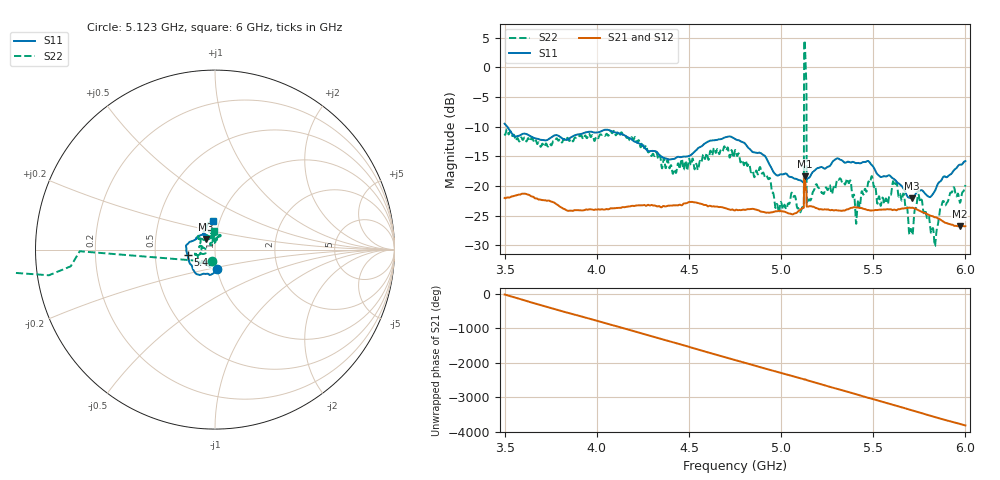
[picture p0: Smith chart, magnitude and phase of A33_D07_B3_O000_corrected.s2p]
! Created with skrf 1.9.0 (http://scikit-rf.org).
# Hz S RI R 50.0
!freq ReS11 ImS11 ReS21 ImS21 ReS12 ImS12 ReS22 ImS22
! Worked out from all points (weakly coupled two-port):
!   1601 points, 3.5 GHz to 6 GHz, reference 50 ohm
!   highest |S21| = -18.38 dB at 5.128 GHz (marker M1); lowest = -26.8 dB at 5.97 GHz (marker M2)
!   lowest |S11| = -22.0 dB at 5.709 GHz (marker M3), VSWR 1.17, Z = 44.7 + j5.31 ohm
!   |S11| at or under -10 dB: 3.515 GHz to end of sweep
!   |S22| runs from -30.1 to 4.5 dB; largest |S21 - S12| = 0.00094
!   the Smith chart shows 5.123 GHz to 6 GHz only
!   S11 on the Smith chart (normalised r, x): 5.123 GHz: 1.00, -0.22; 5.43 GHz: 0.73, -0.05; 6 GHz: 0.93, +0.31
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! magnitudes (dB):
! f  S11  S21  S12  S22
! 3.5 GHz  -9.5  -22.0  -22.0  -11.2
! 3.917 GHz  -11.2  -24.1  -24.1  -11.5
! 4.334 GHz  -14.5  -23.4  -23.3  -15.5
! 4.75 GHz  -12.1  -24.1  -24.0  -14.0
! 5.105 GHz  -19.0  -24.0  -23.9  -24.4
! 5.111 GHz  -19.2  -23.8  -23.8  -23.9
! 5.123 GHz  -19.4  -23.6  -23.6  -23.4
! 5.128 GHz  -19.2  -18.4  -18.4  4.5
! 5.138 GHz  -18.8  -20.8  -20.8  -2.5
! 5.152 GHz  -18.6  -23.4  -23.4  -22.2
! 5.167 GHz  -17.8  -23.4  -23.4  -21.7
! 5.316 GHz  -15.4  -24.1  -24.1  -18.8
! 5.43 GHz  -16.2  -23.7  -23.6  -23.0
! 5.486 GHz  -16.2  -24.1  -24.1  -19.0
! 5.584 GHz  -18.2  -23.9  -23.9  -22.1
! 5.619 GHz  -19.0  -24.0  -24.0  -20.0
! 5.709 GHz  -22.0  -23.6  -23.6  -27.9
! 5.75 GHz  -20.8  -24.1  -24.1  -22.1
! 5.83 GHz  -21.1  -25.2  -25.2  -28.6
! 5.873 GHz  -18.8  -25.8  -25.8  -22.9
! 5.97 GHz  -16.4  -26.8  -26.8  -22.8
! 6 GHz  -15.8  -26.8  -26.7  -19.8
